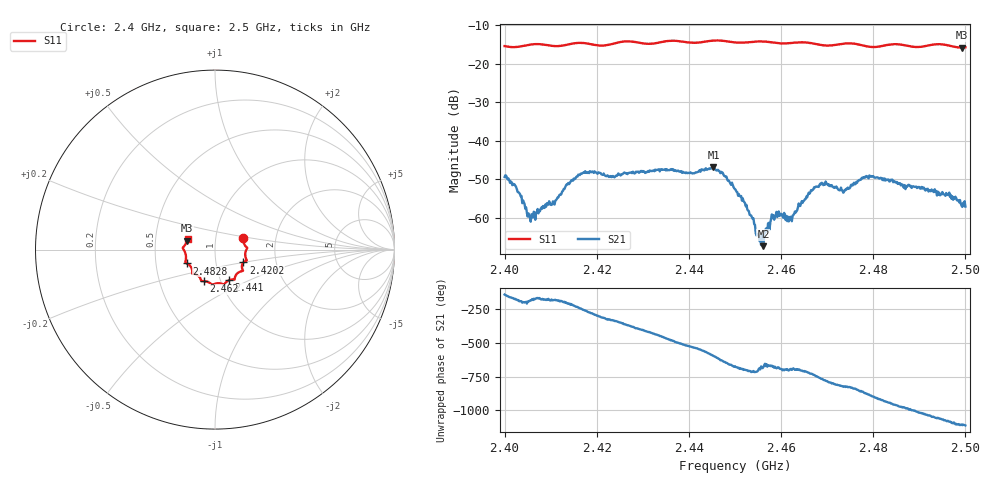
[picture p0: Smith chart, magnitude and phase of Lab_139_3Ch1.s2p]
# Hz S RI R 50
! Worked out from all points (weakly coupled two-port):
!   601 points, 2.4 GHz to 2.5 GHz, reference 50 ohm
!   highest |S21| = -46.82 dB at 2.4453 GHz (marker M1); lowest = -67.3 dB at 2.4562 GHz (marker M2)
!   lowest |S11| = -15.8 dB at 2.4992 GHz (marker M3), VSWR 1.39, Z = 36.4 + j3.7 ohm
!   |S11| at or under -10 dB: start of sweep to end of sweep
!   S12 and S22 are empty: the file has one direction only
!   S11 on the Smith chart (normalised r, x): 2.4 GHz: 1.36, +0.17; 2.4202 GHz: 1.36, -0.20; 2.441 GHz: 1.10, -0.39; 2.462 GHz: 0.84, -0.30; 2.4828 GHz: 0.72, -0.11; 2.5 GHz: 0.73, +0.09
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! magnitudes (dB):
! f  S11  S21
! 2.4 GHz  -15.4  -49.4
! 2.4023 GHz  -15.7  -51.6
! 2.4057 GHz  -15.0  -60.9
! 2.4105 GHz  -15.4  -55.6
! 2.4167 GHz  -14.6  -48.6
! 2.4202 GHz  -15.2  -48.5
! 2.4333 GHz  -14.5  -47.5
! 2.441 GHz  -14.5  -48.4
! 2.4453 GHz  -14.0  -46.8
! 2.45 GHz  -14.4  -52.5
! 2.4535 GHz  -14.3  -59.3
! 2.4552 GHz  -14.2  -64.5
! 2.4562 GHz  -14.2  -67.3
! 2.4585 GHz  -14.5  -60.4
! 2.462 GHz  -14.6  -59.7
! 2.4667 GHz  -14.6  -52.9
! 2.4738 GHz  -14.7  -52.7
! 2.4783 GHz  -15.4  -49.5
! 2.4828 GHz  -15.1  -50.1
! 2.4833 GHz  -15.0  -50.0
! 2.4992 GHz  -15.8  -56.8
! 2.5 GHz  -15.7  -57.0
